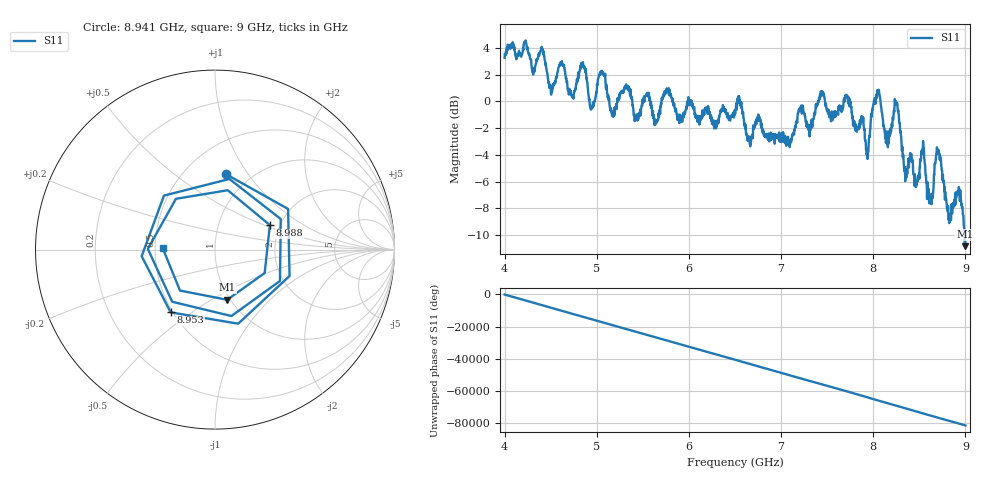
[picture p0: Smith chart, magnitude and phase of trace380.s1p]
! Created with skrf 1.8.0 (http://scikit-rf.org).
# Hz S RI R 50.0
!freq ReS11 ImS11
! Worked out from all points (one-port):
!   1601 points, 4 GHz to 9 GHz, reference 50 ohm
!   lowest |S11| = -10.8 dB at 8.994 GHz (marker M1), VSWR 1.81, Z = 48.4 - j29.5 ohm
!   |S11| at or under -10 dB: 8.989903 GHz to end of sweep
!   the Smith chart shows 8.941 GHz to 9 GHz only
!   S11 on the Smith chart (normalised r, x): 8.941 GHz: 0.78, +0.79; 8.953 GHz: 0.49, -0.42; 8.988 GHz: 1.77, +0.55; 9 GHz: 0.55, +0.01
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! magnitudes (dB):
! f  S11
! 4 GHz  3.2
! 4.509 GHz  0.8
! 4.625 GHz  2.8
! 4.731 GHz  0.4
! 4.856 GHz  2.5
! 4.947 GHz  -0.5
! 5.047 GHz  2.2
! 5.166 GHz  -1.1
! 5.25 GHz  0.5
! 5.875 GHz  -1.4
! 6.5 GHz  -0.9
! 7.125 GHz  -2.6
! 7.438 GHz  0.6
! 7.75 GHz  -0.2
! 7.934 GHz  -4.0
! 8.041 GHz  0.3
! 8.15 GHz  -2.2
! 8.253 GHz  -0.2
! 8.375 GHz  -4.8
! 8.538 GHz  -3.6
! 8.622 GHz  -7.4
! 8.709 GHz  -3.7
! 8.822 GHz  -8.7
! 8.941 GHz  -7.4
! 8.953 GHz  -7.4
! 8.988 GHz  -9.5
! 8.994 GHz  -10.8
! 9 GHz  -10.7
